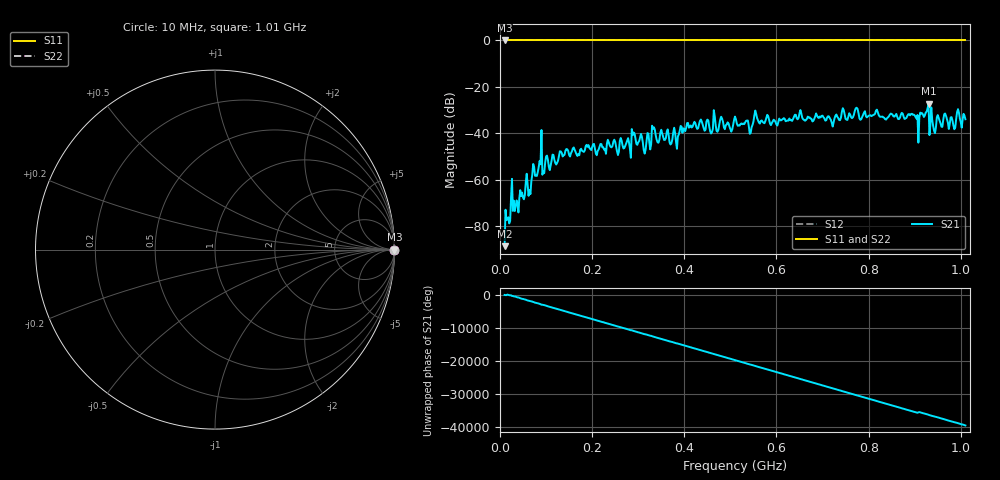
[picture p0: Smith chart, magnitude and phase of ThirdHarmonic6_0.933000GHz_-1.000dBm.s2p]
! 8/16/2025 6:24:32 AM
! C:\ANRITSUVNA\TEMP\TEMP.S2P
! CHANNEL.1
! TR.MEASUREMENT
! RAW.DATA
! RF.CORRECTION.OFF
! AVERAGING.OFF
! IF.BANDWIDTH: 5KHZ
! SWEEPTYPE:  FREQ.SWEEP(Linear)
! Reference Plane Port Info
! PORT:  PORT1  PORT2
! DISTANCE:  0  m  0  m
! TIME:  0  s  0  s
! PHASE.OFFSET:  0  deg.  0  deg.
! LOSS:  0  dB  0  dB
! REF.LOSS:  0  dB  0  dB
! REF.FREQ:  0  Hz  0  Hz
! Power Info
! POWER:  -20  dBm  -20  dBm
! EFF.POWER:  -20  dBm  -20  dBm
! SOURCE.ATTEN:  0  dB  0  dB
! TEST.ATTEN:  0  dB  0  dB
# GHZ S RI R 50.0
! FREQ.GHZ  S11RE  S11IM  S21RE  S21IM  S12RE  S12IM  S22RE  S22IM
!; PortSelection: Port_12
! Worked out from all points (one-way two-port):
!   501 points, 10 MHz to 1.01 GHz, reference 50 ohm
!   highest |S21| = -27.28 dB at 930 MHz (marker M1); lowest = -88.7 dB at 10 MHz (marker M2)
!   lowest |S11| = 0.0 dB at 10 MHz (marker M3)
!   |S11| at or under -10 dB: nowhere
!   |S22| runs from 0.0 to 0.0 dB; largest |S21 - S12| = 1
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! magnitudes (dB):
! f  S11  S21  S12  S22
! 10 MHz  0.0  -88.7  0.0  0.0
! 18 MHz  0.0  -76.2  0.0  0.0
! 28 MHz  0.0  -73.5  0.0  0.0
! 36 MHz  0.0  -68.9  0.0  0.0
! 64 MHz  0.0  -64.5  0.0  0.0
! 86 MHz  0.0  -52.0  0.0  0.0
! 96 MHz  0.0  -57.2  0.0  0.0
! 178 MHz  0.0  -47.5  0.0  0.0
! 280 MHz  0.0  -44.0  0.0  0.0
! 290 MHz  0.0  -39.7  0.0  0.0
! 314 MHz  0.0  -48.8  0.0  0.0
! 334 MHz  0.0  -37.5  0.0  0.0
! 344 MHz  0.0  -44.1  0.0  0.0
! 510 MHz  0.0  -32.8  0.0  0.0
! 544 MHz  0.0  -39.9  0.0  0.0
! 556 MHz  0.0  -31.6  0.0  0.0
! 678 MHz  0.0  -34.9  0.0  0.0
! 774 MHz  0.0  -29.0  0.0  0.0
! 844 MHz  0.0  -32.7  0.0  0.0
! 930 MHz  0.0  -27.3  0.0  0.0
! 942 MHz  0.0  -38.9  0.0  0.0
! 1.01 GHz  0.0  -34.0  0.0  0.0
